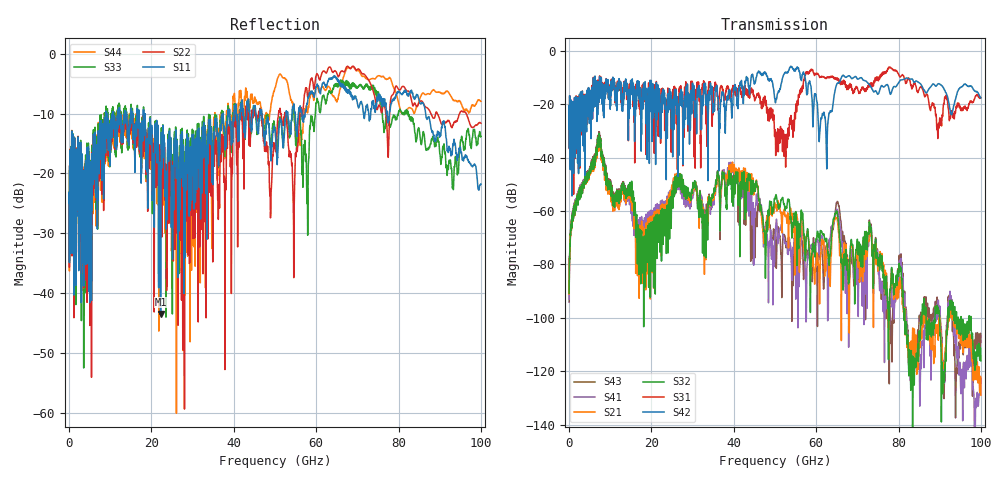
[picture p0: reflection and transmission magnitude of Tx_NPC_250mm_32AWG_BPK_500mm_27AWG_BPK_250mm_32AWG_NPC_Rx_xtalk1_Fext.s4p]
! Info: Touchstone file created by Circ.  Input file=Tx_NPC_250mm_32AWG_BPK_500mm_27AWG_BPK_250mm_32AWG_NPC_Rx.circ
# Hz S RI R 50
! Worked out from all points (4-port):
!   10000 points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, 10 MHz to 100 GHz, reference 50 ohm
!   strongest paths, dB at 10 MHz, 25.01 GHz, 50.01 GHz, 75.01 GHz, 100 GHz:
!     S42: -29.4, -18.4, -18.5, -16.2, -17.6
!     S31: -29.3, -22.6, -30.0, -10.3, -17.5
!     S32: -90.7, -52.5, -55.4, -80.4, -116.1
!     S21: -91.1, -50.4, -57.8, -82.1, -129.0
!     S41: -93.0, -50.7, -69.3, -81.8, -124.8
!     S43: -94.1, -52.1, -68.3, -81.3, -109.2
!   lowest |S11| = -43.5 dB at 22.22 GHz (marker M1), VSWR 1.01, Z = 50.7 + j0.128 ohm
!   |S11| at or under -10 dB: start of sweep to 8.987 GHz; 18.46 GHz to 37.36 GHz (18.9 GHz wide, 67.7 % of centre); 86.59 GHz to end of sweep (the widest 3 of 39)
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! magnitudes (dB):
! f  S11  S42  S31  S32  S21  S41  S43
! 10 MHz  -24.9  -29.4  -29.3  -90.7  -91.1  -93.0  -94.1
! 7.26 GHz  -20.1  -18.1  -18.2  -31.0  -32.5  -31.8  -30.4
! 22.22 GHz  -43.5  -22.0  -34.6  -60.1  -58.1  -56.3  -57.8
! 39.67 GHz  -14.5  -20.9  -14.3  -48.1  -41.7  -41.8  -46.9
! 55.48 GHz  -11.3  -6.5  -20.0  -63.9  -63.6  -77.4  -67.5
! 62.52 GHz  -5.2  -38.1  -10.3  -70.2  -72.8  -74.5  -74.0
! 100 GHz  -21.8  -17.6  -17.5  -116.1  -129.0  -124.8  -109.2
